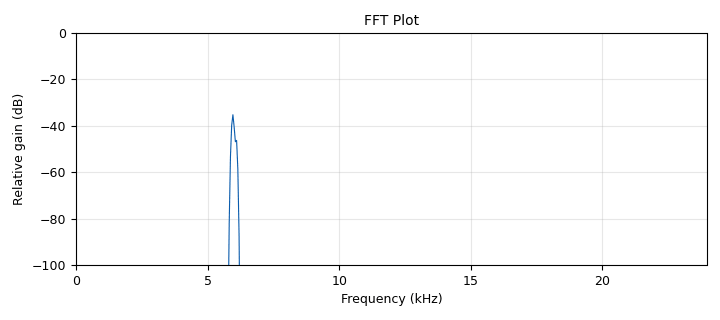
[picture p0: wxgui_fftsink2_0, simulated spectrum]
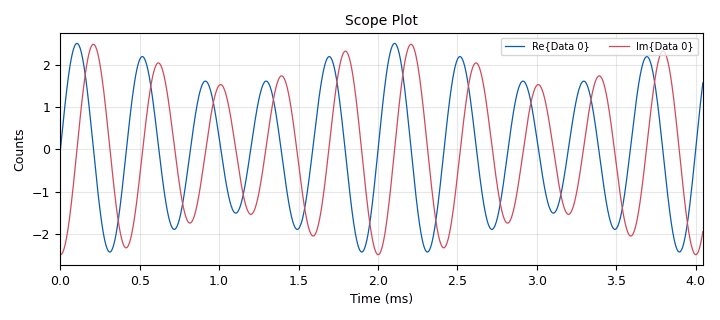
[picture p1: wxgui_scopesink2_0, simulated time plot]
<?xml version='1.0' encoding='utf-8'?>
<flow_graph>
<block>
<key>options</key>
<param><key>id</key><value>myblock</value></param>
<param><key>generate_options</key><value>wx_gui</value></param>
<param><key>category</key><value>Custom</value></param>
</block>
<block>
<key>variable</key>
<param><key>id</key><value>samp</value></param>
<param><key>value</key><value>192000</value></param>
</block>
<block>
<key>variable</key>
<param><key>id</key><value>samp_rate</value></param>
<param><key>value</key><value>1000000</value></param>
</block>
<block>
<key>variable</key>
<param><key>id</key><value>rational_samp</value></param>
<param><key>value</key><value>48000</value></param>
</block>
<block>
<key>blocks_complex_to_real</key>
<param><key>id</key><value>blocks_complex_to_real_0</value></param>
</block>
<block>
<key>blocks_throttle</key>
<param><key>id</key><value>blocks_throttle_0</value></param>
<param><key>type</key><value>complex</value></param>
<param><key>samples_per_second</key><value>samp</value></param>
</block>
<block>
<key>analog_sig_source_x</key>
<param><key>id</key><value>analog_sig_source_x_2</value></param>
<param><key>type</key><value>complex</value></param>
<param><key>samp_rate</key><value>samp</value></param>
<param><key>waveform</key><value>analog.GR_COS_WAVE</value></param>
<param><key>freq</key><value>samp/2</value></param>
<param><key>amp</key><value>1</value></param>
<param><key>offset</key><value>0</value></param>
</block>
<block>
<key>blocks_wavfile_sink</key>
<param><key>id</key><value>blocks_wavfile_sink_0</value></param>
<param><key>file</key><value>/home/yun/gqrx-20150320-085746.wav</value></param>
<param><key>samp_rate</key><value>rational_samp</value></param>
<param><key>bits_per_sample</key><value>16</value></param>
</block>
<block>
<key>wxgui_fftsink2</key>
<param><key>id</key><value>wxgui_fftsink2_0</value></param>
<param><key>type</key><value>float</value></param>
<param><key>title</key><value>FFT Plot</value></param>
<param><key>samp_rate</key><value>rational_samp</value></param>
<param><key>baseband_freq</key><value>0</value></param>
<param><key>y_per_div</key><value>10</value></param>
<param><key>y_divs</key><value>10</value></param>
<param><key>ref_level</key><value>0</value></param>
<param><key>ref_scale</key><value>2.0</value></param>
<param><key>fft_size</key><value>1024</value></param>
<param><key>fft_rate</key><value>15</value></param>
<param><key>peak_hold</key><value>False</value></param>
<param><key>average</key><value>False</value></param>
<param><key>avg_alpha</key><value>0</value></param>
<param><key>win</key><value>None</value></param>
<param><key>freqvar</key><value>None</value></param>
</block>
<block>
<key>rational_resampler_xxx</key>
<param><key>id</key><value>rational_resampler_xxx_0</value></param>
<param><key>type</key><value>fff</value></param>
<param><key>interp</key><value>samp</value></param>
<param><key>decim</key><value>rational_samp</value></param>
<param><key>taps</key><value></value></param>
</block>
<block>
<key>blocks_add_xx</key>
<param><key>id</key><value>blocks_add_xx_0</value></param>
<param><key>type</key><value>complex</value></param>
</block>
<block>
<key>analog_sig_source_x</key>
<param><key>id</key><value>analog_sig_source_x_1</value></param>
<param><key>type</key><value>complex</value></param>
<param><key>samp_rate</key><value>samp_rate</value></param>
<param><key>waveform</key><value>analog.GR_COS_WAVE</value></param>
<param><key>freq</key><value>2500</value></param>
<param><key>amp</key><value>2</value></param>
<param><key>offset</key><value>0</value></param>
</block>
<block>
<key>wxgui_scopesink2</key>
<param><key>id</key><value>wxgui_scopesink2_0</value></param>
<param><key>type</key><value>complex</value></param>
<param><key>title</key><value>Scope Plot</value></param>
<param><key>samp_rate</key><value>samp_rate</value></param>
<param><key>v_scale</key><value>0</value></param>
<param><key>v_offset</key><value>0</value></param>
<param><key>t_scale</key><value>0</value></param>
<param><key>ac_couple</key><value>False</value></param>
<param><key>xy_mode</key><value>False</value></param>
<param><key>num_inputs</key><value>1</value></param>
<param><key>trig_mode</key><value>wxgui.TRIG_MODE_AUTO</value></param>
<param><key>y_axis_label</key><value>Counts</value></param>
</block>
<block>
<key>analog_sig_source_x</key>
<param><key>id</key><value>analog_sig_source_x_0</value></param>
<param><key>type</key><value>complex</value></param>
<param><key>samp_rate</key><value>samp_rate</value></param>
<param><key>waveform</key><value>analog.GR_COS_WAVE</value></param>
<param><key>freq</key><value>2000</value></param>
<param><key>amp</key><value>0.5</value></param>
<param><key>offset</key><value>0</value></param>
</block>
<block>
<key>blocks_multiply_xx</key>
<param><key>id</key><value>blocks_multiply_xx_0</value></param>
<param><key>type</key><value>complex</value></param>
</block>
<connection><source_block_id>analog_sig_source_x_1</source_block_id><sink_block_id>blocks_add_xx_0</sink_block_id><source_key>0</source_key><sink_key>1</sink_key></connection>
<connection><source_block_id>analog_sig_source_x_0</source_block_id><sink_block_id>blocks_add_xx_0</sink_block_id><source_key>0</source_key><sink_key>0</sink_key></connection>
<connection><source_block_id>analog_sig_source_x_2</source_block_id><sink_block_id>blocks_multiply_xx_0</sink_block_id><source_key>0</source_key><sink_key>1</sink_key></connection>
<connection><source_block_id>blocks_add_xx_0</source_block_id><sink_block_id>blocks_multiply_xx_0</sink_block_id><source_key>0</source_key><sink_key>0</sink_key></connection>
<connection><source_block_id>blocks_throttle_0</source_block_id><sink_block_id>blocks_complex_to_real_0</sink_block_id><source_key>0</source_key><sink_key>0</sink_key></connection>
<connection><source_block_id>blocks_complex_to_real_0</source_block_id><sink_block_id>rational_resampler_xxx_0</sink_block_id><source_key>0</source_key><sink_key>0</sink_key></connection>
<connection><source_block_id>rational_resampler_xxx_0</source_block_id><sink_block_id>blocks_wavfile_sink_0</sink_block_id><source_key>0</source_key><sink_key>0</sink_key></connection>
<connection><source_block_id>blocks_multiply_xx_0</source_block_id><sink_block_id>blocks_throttle_0</sink_block_id><source_key>0</source_key><sink_key>0</sink_key></connection>
<connection><source_block_id>rational_resampler_xxx_0</source_block_id><sink_block_id>wxgui_fftsink2_0</sink_block_id><source_key>0</source_key><sink_key>0</sink_key></connection>
<connection><source_block_id>blocks_add_xx_0</source_block_id><sink_block_id>wxgui_scopesink2_0</sink_block_id><source_key>0</source_key><sink_key>0</sink_key></connection>
</flow_graph>
